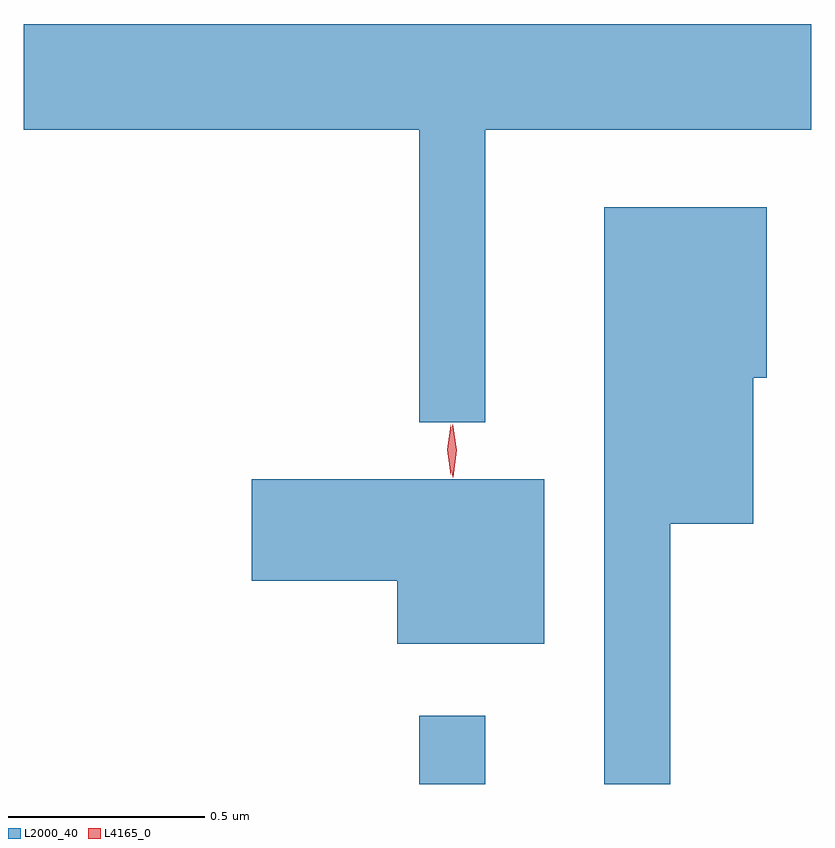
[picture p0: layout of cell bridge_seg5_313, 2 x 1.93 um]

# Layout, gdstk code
import gdstk
lib = gdstk.Library(unit=1e-6, precision=1e-09)
def R(c, l, rs):  # rectangles x0, y0, x1, y1
    for r in rs: c.add(gdstk.rectangle(r[:2], r[2:], *l))
def P(c, l, *ps):  # polygons
    for p in ps: c.add(gdstk.Polygon(p, *l))
L2000_40 = (2000, 40)
L4165_0 = (4165, 0)

bridge_seg5_313 = lib.new_cell('bridge_seg5_313')
R(bridge_seg5_313, L2000_40, [(777.751,1495.095,777.919,1495.268)])
P(bridge_seg5_313, L2000_40, [(777.919,1496.756),(778.747,1496.756),(778.747,1497.024),(776.747,1497.024),(776.747,1496.756),(777.751,1496.756),(777.751,1496.013),(777.919,1496.013)],
  [(778.389,1495.756),(778.599,1495.756),(778.599,1496.126),(778.634,1496.126),(778.634,1496.559),(778.221,1496.559),(778.221,1495.095),(778.389,1495.095)],
  [(778.069,1495.869),(777.326,1495.869),(777.326,1495.611),(777.696,1495.611),(777.696,1495.451),(778.069,1495.451)])
P(bridge_seg5_313, L4165_0, [(777.831,1495.88),(777.822,1495.944),(777.831,1496.006),(777.832,1496.007),(777.832,1496.006),(777.842,1495.944),(777.832,1495.88),(777.832,1495.88)],
  [(777.837,1495.874),(777.837,1495.874),(777.827,1495.942),(777.836,1496.01),(777.837,1496.01),(777.837,1496.01),(777.847,1495.942),(777.838,1495.874)])

lib.write_gds('bridge_seg5_313.gds')
